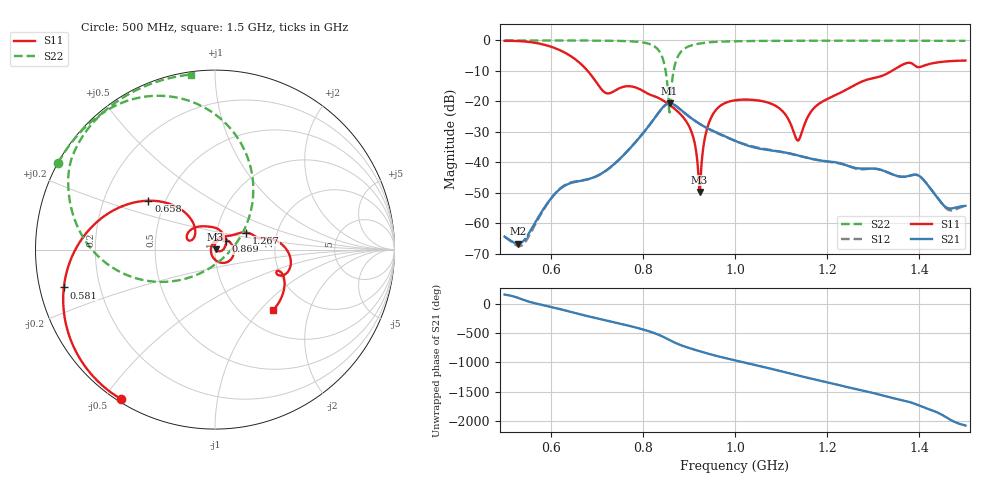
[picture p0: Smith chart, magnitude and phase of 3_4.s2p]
! TOUCHSTONE file generated by CST MICROWAVE STUDIO
! Date and time: Wed Oct 28 19:13:49 2020
! Project name: Scenario_1_Circular_Tissue_out_of_Line.cst
! Parameters = {dy1=-311.318; L_HA=400; MT=2.54; Rad_Dielectric=30; Rad_Lower=7.3; Rad_Upper=30; a_HA=580; a_WG=246; b_HA=500; b_WG=121; c_HA=0; c_WG=187; d_feed=85; dx1=693; h_feed=15; h_lower=18; h_upper=40}
! Header version: 2018
! Port assignment regex: !\s*Touchstone port\s*([0-9]+)\s*=\s*(CST MWS port|CST DS port)\s*([0-9]+|Zmin|Zmax)\s*\(\"(.*)\"\)(\s*mode\s*([0-9]+))?.*
! Touchstone port assignment:
! Touchstone port 1 = CST MWS port 1 ("")
! Touchstone port 2 = CST MWS port 2 ("")
# GHz S DB R 50
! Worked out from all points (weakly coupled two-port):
!   1001 points, 500 MHz to 1.5 GHz, reference 50 ohm
!   highest |S21| = -20.66 dB at 858 MHz (marker M1); lowest = -66.8 dB at 529 MHz (marker M2)
!   lowest |S11| = -49.7 dB at 923 MHz (marker M3), VSWR 1.01, Z = 50.3 + j0.143 ohm
!   |S11| at or under -10 dB: 680.2 MHz to 1.34 GHz (660.2 MHz wide, 65.3 % of centre)
!   |S22| runs from -23.7 to 0.0 dB; largest |S21 - S12| = 0.00053
!   S11 on the Smith chart (normalised r, x): 500 MHz: 0.01, -0.55; 581 MHz: 0.07, -0.12; 658 MHz: 0.40, +0.28; 869 MHz: 1.12, +0.10; 1.267 GHz: 1.39, +0.27; 1.5 GHz: 1.37, -1.18
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0.5  -0.14 -122.2  -64.44 168.6  -64.47 168.6  -0.01 151.1
0.529  -0.21 -136.2  -66.78 112.1  -67.51 114.5  -0.01 149.2
0.581  -1.23 -166.0  -56.15 -8.5  -56.50 -10.4  -0.02 145.5
0.658  -6.74 143.7  -46.33 -160.5  -46.18 -160.6  -0.04 139.2
0.667  -7.92 138.3  -46.07 -178.2  -45.98 -178.3  -0.04 138.4
0.72  -17.28 145.3  -42.74 83.3  -42.82 83.1  -0.09 132.3
0.779  -15.22 139.5  -34.31 -26.7  -34.25 -26.4  -0.33 120.7
0.834  -18.90 78.6  -23.74 -162.7  -23.73 -162.6  -3.20 83.8
0.858  -21.17 52.1  -20.66 105.3  -20.66 105.3  -23.67 -52.0
0.869  -22.47 38.2  -21.24 62.4  -21.23 62.4  -8.39 -152.0
0.905  -29.80 -15.0  -25.52 -42.7  -25.52 -42.7  -1.65 164.7
0.923  -49.73 25.8  -27.38 -86.1  -27.36 -86.2  -1.03 156.9
0.948  -25.41 70.9  -29.40 -143.1  -29.47 -142.9  -0.57 149.6
1  -19.66 1.8  -32.96 116.8  -32.96 116.8  -0.27 140.2
1.09  -21.65 -63.0  -36.37 -52.3  -36.30 -51.9  -0.13 130.6
1.136  -32.88 179.2  -37.73 -144.1  -37.80 -144.2  -0.11 126.7
1.167  -22.99 69.6  -38.91 158.8  -38.90 158.9  -0.09 124.2
1.267  -14.10 28.7  -42.02 -24.6  -42.27 -24.7  -0.08 116.6
1.334  -10.56 12.6  -43.50 -157.2  -43.50 -157.2  -0.09 111.5
1.4  -8.77 -19.4  -44.50 58.0  -44.57 57.7  -0.10 106.3
1.464  -6.83 -35.3  -55.17 -170.7  -55.70 -163.5  -0.12 101.0
1.5  -6.61 -46.0  -54.33 75.7  -54.32 75.7  -0.13 97.9
